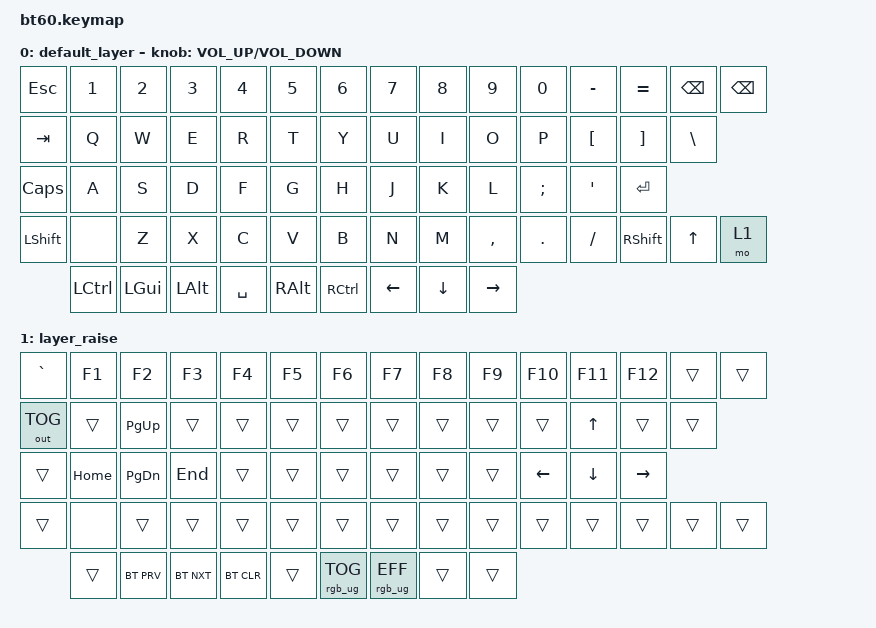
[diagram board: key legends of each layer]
/*
 * Copyright (c) 2020 The ZMK Contributors
 *
 * SPDX-License-Identifier: MIT
 */
/* THIS FILE WAS GENERATED!
 *
 * This file was generated automatically. You may or may not want to
 * edit it directly.
 */

#include <behaviors.dtsi>
#include <dt-bindings/zmk/bt.h>
#include <dt-bindings/zmk/keys.h>
#include <dt-bindings/zmk/outputs.h>
#include <dt-bindings/zmk/rgb.h>

/ {
    keymap {
        compatible = "zmk,keymap";

        default_layer {
            bindings = <
&kp ESC       &kp N1            &kp N2        &kp N3        &kp N4     &kp N5         &kp N6             &kp N7          &kp N8          &kp N9           &kp N0    &kp MINUS  &kp EQUAL  &kp BACKSPACE  &kp BACKSPACE
&kp TAB       &kp Q             &kp W         &kp E         &kp R      &kp T          &kp Y              &kp U           &kp I           &kp O            &kp P     &kp LBKT   &kp RBKT   &kp BACKSLASH
&kp CAPSLOCK  &kp A             &kp S         &kp D         &kp F      &kp G          &kp H              &kp J           &kp K           &kp L            &kp SEMI  &kp SQT    &kp RET
&kp LSHFT     &none             &kp Z         &kp X         &kp C      &kp V          &kp B              &kp N           &kp M           &kp COMMA        &kp DOT   &kp FSLH   &kp RSHFT  &kp UP_ARROW   &mo 1
              &kp LEFT_CONTROL  &kp LEFT_GUI  &kp LEFT_ALT  &kp SPACE  &kp RIGHT_ALT  &kp RIGHT_CONTROL  &kp LEFT_ARROW  &kp DOWN_ARROW  &kp RIGHT_ARROW
            >;

            sensor-bindings = <&inc_dec_kp C_VOLUME_UP C_VOLUME_DOWN>;
        };

        layer_raise {
            bindings = <
&kp GRAVE     &kp F1    &kp F2         &kp F3      &kp F4      &kp F5  &kp F6           &kp F7           &kp F8  &kp F9  &kp F10         &kp F11         &kp F12          &trans  &trans
&out OUT_TOG  &trans    &kp PAGE_UP    &trans      &trans      &trans  &trans           &trans           &trans  &trans  &trans          &kp UP_ARROW    &trans           &trans
&trans        &kp HOME  &kp PAGE_DOWN  &kp END     &trans      &trans  &trans           &trans           &trans  &trans  &kp LEFT_ARROW  &kp DOWN_ARROW  &kp RIGHT_ARROW
&trans        &none     &trans         &trans      &trans      &trans  &trans           &trans           &trans  &trans  &trans          &trans          &trans           &trans  &trans
              &trans    &bt BT_PRV     &bt BT_NXT  &bt BT_CLR  &trans  &rgb_ug RGB_TOG  &rgb_ug RGB_EFF  &trans  &trans
            >;
        };
    };
};
